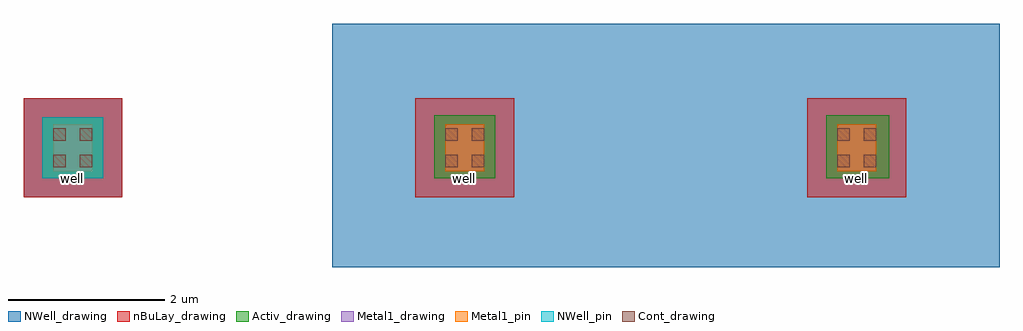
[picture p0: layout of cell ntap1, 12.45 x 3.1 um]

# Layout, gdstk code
import gdstk
lib = gdstk.Library(unit=1e-6, precision=1e-09)
def R(c, l, rs):  # rectangles x0, y0, x1, y1
    for r in rs: c.add(gdstk.rectangle(r[:2], r[2:], *l))
def A(c, l, x, y, w, h, nx, ny, dx, dy):  # array of equal rectangles
    R(c, l, [(x+i*dx, y+j*dy, x+i*dx+w, y+j*dy+h) for i in range(nx) for j in range(ny)])
Activ_drawing = (1, 0)
Cont_drawing = (6, 0)
Metal1_drawing = (8, 0)
Metal1_pin = (8, 2)
NWell_drawing = (31, 0)
NWell_pin = (31, 2)
nBuLay_drawing = (32, 0)

ntap1 = lib.new_cell('ntap1')
R(ntap1, Activ_drawing, [(0,0,0.78,0.78), (5,0,5.78,0.8), (10,0,10.8,0.8)])
R(ntap1, Cont_drawing, [(0.14,0.14,0.3,0.3), (0.48,0.14,0.64,0.3), (5.14,0.14,5.3,0.3), (5.48,0.14,5.64,0.3), (10.14,0.14,10.3,0.3), (10.48,0.14,10.64,0.3), (0.14,0.48,0.3,0.64), (0.48,0.48,0.64,0.64), (5.14,0.48,5.3,0.64), (5.48,0.48,5.64,0.64), (10.14,0.48,10.3,0.64), (10.48,0.48,10.64,0.64)])
A(ntap1, Metal1_drawing, 0.14, 0.09, 0.5, 0.6, 3, 1, 5, 0)
A(ntap1, Metal1_pin, 0.14, 0.09, 0.5, 0.6, 3, 1, 5, 0)
A(ntap1, NWell_drawing, -0.24, -0.24, 1.26, 1.26, 3, 1, 5, 0)
R(ntap1, NWell_drawing, [(3.699,-1.133,12.209,1.967)])
R(ntap1, NWell_pin, [(0,0,0.78,0.78)])
A(ntap1, nBuLay_drawing, -0.24, -0.24, 1.26, 1.26, 3, 1, 5, 0)
ntap1.add(gdstk.Label('well', (5.39,0), layer=63, texttype=0))
ntap1.add(gdstk.Label('well', (10.39,0), layer=63, texttype=0))
ntap1.add(gdstk.Label('well', (0.39,0), layer=63, texttype=0))

lib.write_gds('ntap1.gds')
